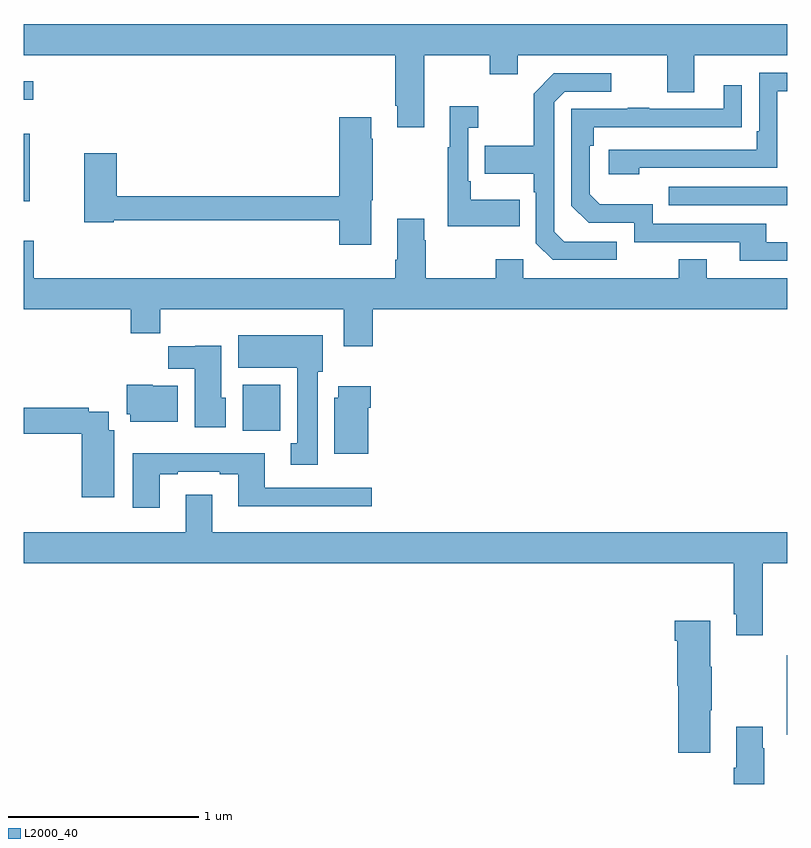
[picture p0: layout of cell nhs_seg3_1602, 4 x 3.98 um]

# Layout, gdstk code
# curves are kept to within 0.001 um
import gdstk
lib = gdstk.Library(unit=1e-6, precision=1e-09)
def R(c, l, rs):  # rectangles x0, y0, x1, y1
    for r in rs: c.add(gdstk.rectangle(r[:2], r[2:], *l))
def P(c, l, *ps):  # polygons
    for p in ps: c.add(gdstk.Polygon(p, *l))
L2000_40 = (2000, 40)

nhs_seg3_1602 = lib.new_cell('nhs_seg3_1602')
R(nhs_seg3_1602, L2000_40, [(196.998,726.659,197,727.075), (194.147,728.252,194.344,728.494), (196.381,729.435,197,729.531), (193,729.456,193.03,729.808), (193,729.987,193.048,730.084)])
P(nhs_seg3_1602, L2000_40, [(193,730.22),(194.945,730.22),(194.945,729.955),(194.957,729.955),(194.957,729.843),(195.097,729.843),(195.097,730.22),(195.442,730.22),(195.442,730.121),(195.589,730.121),(195.589,730.22),(196.373,730.22),(196.373,730.026),(196.513,730.026),(196.513,730.22),(197,730.22),(197,730.384),(193,730.384)],
  [(196.226,729.63),(196.95,729.63),(196.95,730.032),(197,730.032),(197,730.128),(196.854,730.128),(196.854,729.823),(196.841,729.823),(196.841,729.726),(196.065,729.726),(196.065,729.596),(196.226,729.596)],
  [(196.108,729.243),(195.831,729.243),(195.78,729.294),(195.78,729.975),(195.834,730.029),(196.078,730.029),(196.078,730.125),(195.777,730.125),(195.672,730.019),(195.672,729.747),(195.415,729.747),(195.415,729.599),(195.672,729.599),(195.672,729.503),(195.684,729.503),(195.684,729.234),(195.771,729.147),(196.108,729.147)],
  [(197,729.24),(196.891,729.24),(196.891,729.336),(196.296,729.336),(196.296,729.439),(196.019,729.439),(195.966,729.492),(195.966,729.746),(195.986,729.746),(195.986,729.843),(196.763,729.844),(196.763,730.063),(196.667,730.063),(196.667,729.939),(196.277,729.939),(196.277,729.944),(196.165,729.944),(196.165,729.939),(195.87,729.939),(195.87,729.432),(195.96,729.342),(196.2,729.342),(196.2,729.24),(196.751,729.24),(196.751,729.144),(197,729.144)],
  [(195.599,729.463),(195.343,729.463),(195.343,729.559),(195.33,729.559),(195.33,729.839),(195.382,729.839),(195.382,729.952),(195.233,729.952),(195.233,729.739),(195.222,729.739),(195.222,729.323),(195.599,729.323)],
  [(194.821,729.459),(194.829,729.459),(194.829,729.782),(194.821,729.782),(194.821,729.895),(194.654,729.895),(194.654,729.482),(193.487,729.482),(193.487,729.706),(193.316,729.706),(193.316,729.346),(193.47,729.346),(193.47,729.354),(194.654,729.354),(194.654,729.228),(194.821,729.228)],
  [(194.828,728.888),(197,728.888),(197,729.052),(196.579,729.052),(196.579,729.151),(196.432,729.151),(196.432,729.052),(195.618,729.052),(195.618,729.151),(195.472,729.151),(195.472,729.052),(195.105,729.052),(195.105,729.251),(195.097,729.251),(195.097,729.364),(194.957,729.364),(194.957,729.148),(194.945,729.148),(194.945,729.052),(193.052,729.052),(193.052,729.247),(193,729.247),(193,728.888),(193.559,728.888),(193.559,728.764),(193.715,728.764),(193.715,728.888),(194.675,728.888),(194.675,728.694),(194.828,728.694)],
  [(194.539,728.562),(194.566,728.562),(194.566,728.752),(194.123,728.752),(194.123,728.582),(194.432,728.582),(194.432,728.186),(194.399,728.186),(194.399,728.073),(194.539,728.073)],
  [(194.059,728.424),(194.035,728.424),(194.035,728.698),(193.899,728.698),(193.899,728.694),(193.756,728.694),(193.756,728.576),(193.895,728.576),(193.895,728.27),(194.059,728.27)],
  [(193.807,728.488),(193.674,728.488),(193.674,728.494),(193.538,728.494),(193.538,728.337),(193.556,728.337),(193.556,728.3),(193.807,728.3)],
  [(194.806,728.372),(194.819,728.372),(194.819,728.485),(194.648,728.485),(194.648,728.424),(194.627,728.424),(194.627,728.132),(194.806,728.132)],
  [(193.474,728.254),(193.444,728.254),(193.444,728.352),(193.34,728.352),(193.34,728.372),(193,728.372),(193,728.236),(193.304,728.236),(193.304,727.902),(193.474,727.902)],
  [(193.711,728.025),(193.807,728.025),(193.807,728.037),(194.027,728.037),(194.027,728.025),(194.123,728.025),(194.123,727.856),(194.824,727.856),(194.824,727.953),(194.263,727.953),(194.263,728.134),(193.571,728.134),(193.571,727.848),(193.711,727.848)],
  [(196.873,727.556),(197,727.556),(197,727.72),(193.987,727.72),(193.987,727.915),(193.847,727.915),(193.847,727.72),(193,727.72),(193,727.556),(196.721,727.556),(196.721,727.291),(196.733,727.291),(196.733,727.179),(196.873,727.179)],
  [(196.597,726.787),(196.605,726.787),(196.605,727.015),(196.597,727.015),(196.597,727.255),(196.412,727.255),(196.412,727.151),(196.424,727.151),(196.424,726.915),(196.43,726.915),(196.43,726.564),(196.597,726.564)],
  [(196.881,726.587),(196.873,726.587),(196.873,726.7),(196.733,726.7),(196.733,726.484),(196.721,726.484),(196.721,726.4),(196.881,726.4)])

lib.write_gds('nhs_seg3_1602.gds')
